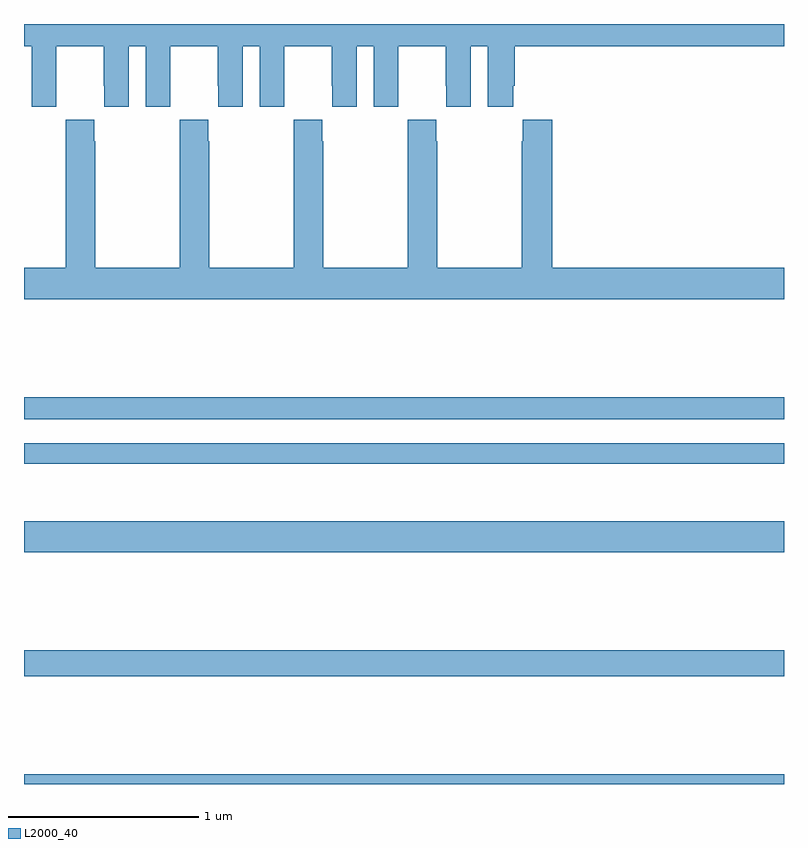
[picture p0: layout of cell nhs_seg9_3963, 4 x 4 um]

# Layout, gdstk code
import gdstk
lib = gdstk.Library(unit=1e-6, precision=1e-09)
def R(c, l, rs):  # rectangles x0, y0, x1, y1
    for r in rs: c.add(gdstk.rectangle(r[:2], r[2:], *l))
def P(c, l, *ps):  # polygons
    for p in ps: c.add(gdstk.Polygon(p, *l))
L2000_40 = (2000, 40)

nhs_seg9_3963 = lib.new_cell('nhs_seg9_3963')
R(nhs_seg9_3963, L2000_40, [(337,1228.5,341,1228.552), (337,1229.068,341,1229.204), (337,1229.72,341,1229.884), (337,1230.186,341,1230.294), (337,1230.42,341,1230.536)])
P(nhs_seg9_3963, L2000_40, [(337.17,1232.176),(337.171,1232.176),(337.171,1232.384),(337.421,1232.384),(337.421,1232.176),(337.422,1232.176),(337.422,1232.064),(337.552,1232.064),(337.552,1232.384),(337.64,1232.384),(337.64,1232.064),(337.77,1232.064),(337.77,1232.176),(337.771,1232.176),(337.771,1232.384),(338.021,1232.384),(338.021,1232.176),(338.022,1232.176),(338.022,1232.064),(338.152,1232.064),(338.152,1232.384),(338.24,1232.384),(338.24,1232.064),(338.37,1232.064),(338.37,1232.176),(338.371,1232.176),(338.371,1232.384),(338.621,1232.384),(338.621,1232.176),(338.622,1232.176),(338.622,1232.064),(338.752,1232.064),(338.752,1232.384),(338.84,1232.384),(338.84,1232.064),(338.97,1232.064),(338.97,1232.176),(338.971,1232.176),(338.971,1232.384),(339.221,1232.384),(339.221,1232.176),(339.222,1232.176),(339.222,1232.064),(339.352,1232.064),(339.352,1232.384),(339.44,1232.384),(339.44,1232.064),(339.574,1232.064),(339.574,1232.176),(339.584,1232.176),(339.584,1232.384),(341,1232.384),(341,1232.5),(337,1232.5),(337,1232.384),(337.04,1232.384),(337.04,1232.064),(337.17,1232.064)],
  [(341,1231.216),(339.779,1231.216),(339.779,1231.996),(339.625,1231.996),(339.625,1231.883),(339.619,1231.883),(339.619,1231.216),(339.174,1231.216),(339.174,1231.883),(339.171,1231.883),(339.171,1231.996),(339.021,1231.996),(339.021,1231.883),(339.019,1231.883),(339.019,1231.216),(338.574,1231.216),(338.574,1231.883),(338.571,1231.883),(338.571,1231.996),(338.421,1231.996),(338.421,1231.883),(338.419,1231.883),(338.419,1231.216),(337.974,1231.216),(337.974,1231.883),(337.971,1231.883),(337.971,1231.996),(337.821,1231.996),(337.821,1231.883),(337.819,1231.883),(337.819,1231.216),(337.374,1231.216),(337.374,1231.883),(337.371,1231.883),(337.371,1231.996),(337.221,1231.996),(337.221,1231.883),(337.219,1231.883),(337.219,1231.216),(337,1231.216),(337,1231.052),(341,1231.052)])

lib.write_gds('nhs_seg9_3963.gds')
